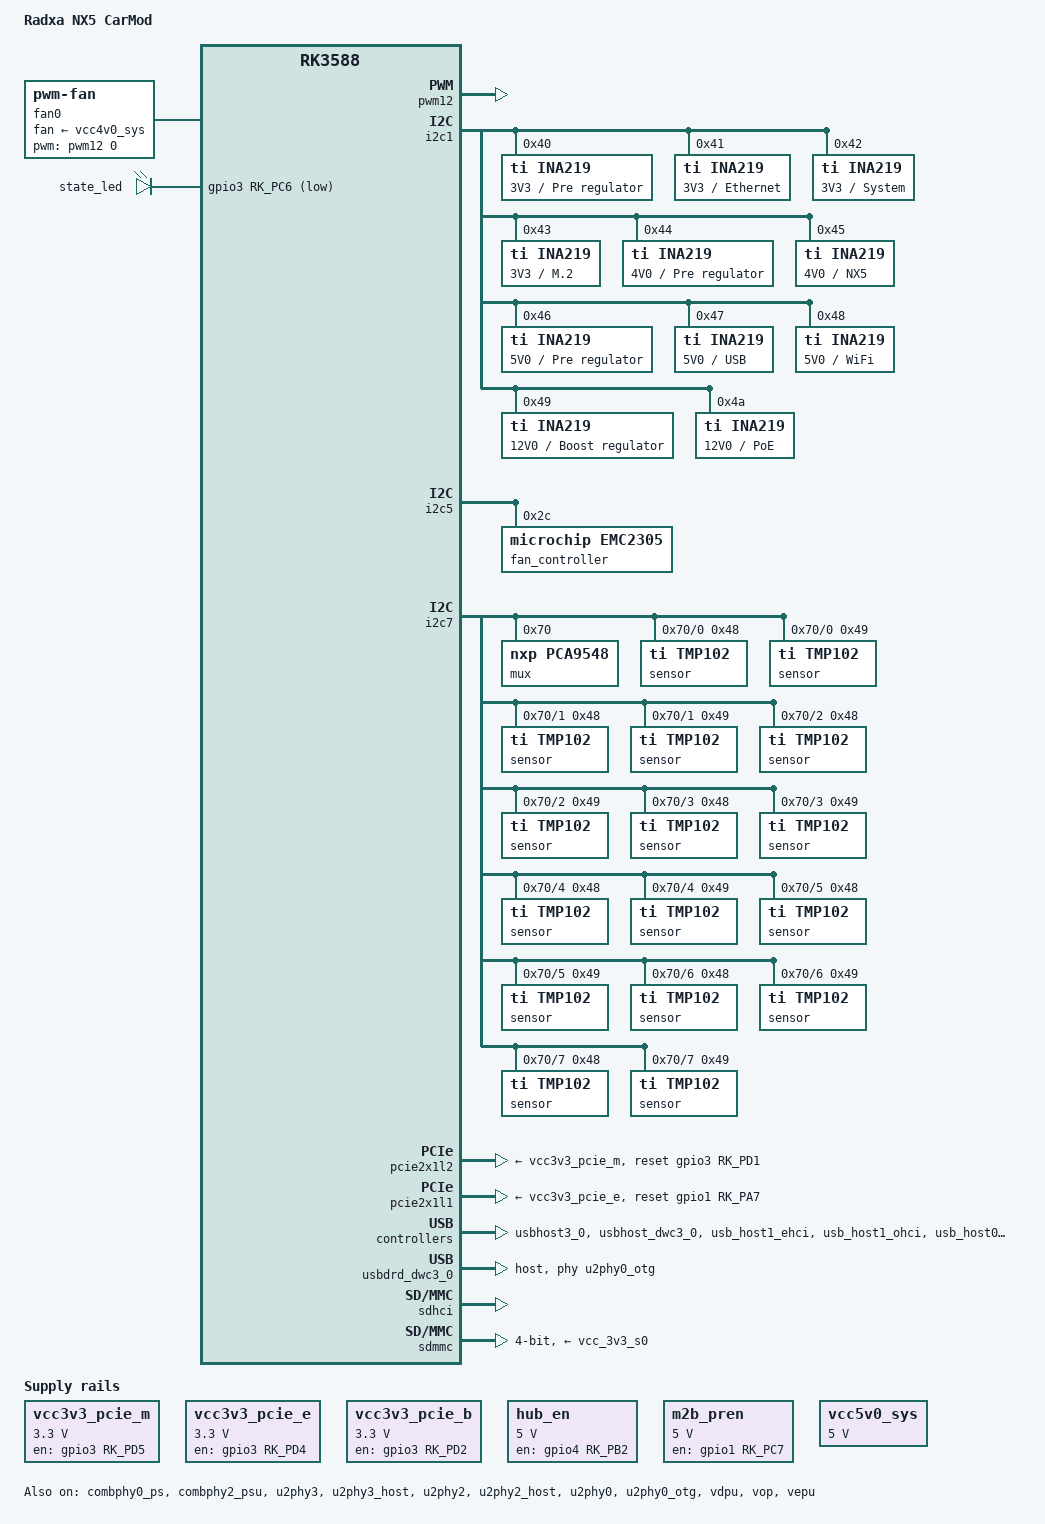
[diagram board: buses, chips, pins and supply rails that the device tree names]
// SPDX-License-Identifier: (GPL-2.0+ OR MIT)
/*
 * Copyright (c) 2024 Rockchip Electronics Co., Ltd.
 * Copyright (c) 2024 Radxa Computer (Shenzhen) Co., Ltd.
 *
 */

/dts-v1/;

#include "rk3588s-radxa-nx5.dtsi"

/ {
	model = "Radxa NX5 CarMod";
	compatible = "radxa,nx5-io", "rockchip,rk3588";

	fan0: pwm-fan {
	 	compatible = "pwm-fan";
	 	#cooling-cells = <2>;
	 	cooling-levels = <0 64 128 192 255>;
	 	pwms = <&pwm12 0 60000 0>;	
	 	fan-supply = <&vcc4v0_sys>;
	};

	vcc3v3_pcie_m: vcc3v3-pcie-m {
		compatible = "regulator-fixed";
		regulator-name = "vcc3v3_pcie_m";
		regulator-min-microvolt = <3300000>;
		regulator-max-microvolt = <3300000>;
		startup-delay-us = <5000>;
		enable-active-high;
		regulator-boot-on;
		regulator-always-on;
		gpio = <&gpio3 RK_PD5 GPIO_ACTIVE_HIGH>;
		pinctrl-names = "default";
		pinctrl-0 = <&pcie_m_en_pctrl>;
	};

	vcc3v3_pcie_e: vcc3v3-pcie-e {
		compatible = "regulator-fixed";
		regulator-name = "vcc3v3_pcie_e";
		regulator-min-microvolt = <3300000>;
		regulator-max-microvolt = <3300000>;
		startup-delay-us = <10000>;
		gpio = <&gpio3 RK_PD4 GPIO_ACTIVE_HIGH>;
		enable-active-high;
		regulator-boot-on;
		regulator-always-on;
		pinctrl-names = "default";
		pinctrl-0 = <&pcie_e_en_pctrl>;
	};
	vcc3v3_pcie_b: vcc3v3-pcie-b {
		compatible = "regulator-fixed";
		regulator-name = "vcc3v3_pcie_b";
		regulator-min-microvolt = <3300000>;
		regulator-max-microvolt = <3300000>;
		startup-delay-us = <10000>;
		gpio = <&gpio3 RK_PD2 GPIO_ACTIVE_HIGH>;
		enable-active-high;
		regulator-boot-on;
		regulator-always-on;
		pinctrl-names = "default";
		pinctrl-0 = <&pcie_b_en_pctrl>;
	};

	hub_en: hub-en {
		compatible = "regulator-fixed";
		regulator-name = "hub_en";
		regulator-min-microvolt = <5000000>;
		regulator-max-microvolt = <5000000>;
		startup-delay-us = <10000>;
		gpio = <&gpio4 RK_PB2 GPIO_ACTIVE_HIGH>;
		enable-active-high;
		pinctrl-names = "default";
		pinctrl-0 = <&hub_en_pctrl>;
	 	regulator-boot-on;
		regulator-always-on;
	};

	m2b_pren: m2b_pren {
		compatible = "regulator-fixed";
		regulator-name = "hub_en";
		regulator-min-microvolt = <5000000>;
		regulator-max-microvolt = <5000000>;
		startup-delay-us = <10000>;
		gpio = <&gpio1 RK_PC7 GPIO_ACTIVE_HIGH>;
		enable-active-high;
		pinctrl-names = "default";
		pinctrl-0 = <&hub_en_pctrl>;
	 	regulator-boot-on;
		regulator-always-on;
	};

	leds {
		compatible = "gpio-leds";
		pinctrl-0 = <&led0_en &led1_en>;
		pinctrl-names = "default";
		state_led {
			gpios = <&gpio3 RK_PC6 GPIO_ACTIVE_LOW>;
			linux,default-trigger = "heartbeat";
		};
	};

	// Fake ... 
	vcc5v0_sys: vcc5v0-sys {
    	compatible = "regulator-fixed";
    	regulator-name = "vcc5v0_sys";
    	regulator-min-microvolt = <5000000>;
    	regulator-max-microvolt = <5000000>;
    	regulator-boot-on;
    	regulator-always-on;
	};

};

&pwm12 {
 	pinctrl-0 = <&pwm12m1_pins>;
 	status = "okay";
};

&soc_thermal {
	sustainable-power = <5000>; /* milliwatts */
	cooling-maps {
		map4 {
			trip = <&target>;
			cooling-device =
				<&fan0 THERMAL_NO_LIMIT THERMAL_NO_LIMIT>;
			contribution = <8192>;
		};
		map5 {
			trip = <&threshold>;
			cooling-device =
				<&fan0 THERMAL_NO_LIMIT THERMAL_NO_LIMIT>;
			contribution = <8192>;
		};
	};
};

&threshold {
	temperature = <60000>;
};

&combphy0_ps {
	status = "okay";
};


&i2c1 {
  status = "okay";
  pinctrl-0 = <&i2c1m4_xfer>;

  vin-3v3@40 {
    compatible = "ti,ina219";
    reg = <0x40>;
    shunt-resistor = <5000>;
    label = "3V3 / Pre regulator";
  };

  3v3-eth@41 {
    compatible = "ti,ina219";
    reg = <0x41>;
    shunt-resistor = <5000>;
    label = "3V3 / Ethernet";
  };

  3v3-sys@42 {
    compatible = "ti,ina219";
    reg = <0x42>;
    shunt-resistor = <5000>;
    label = "3V3 / System";
  };

  3v3-m2@43 {
    compatible = "ti,ina219";
    reg = <0x43>;
    shunt-resistor = <5000>;
    label = "3V3 / M.2";
  };

  vin-4v0@44 {
    compatible = "ti,ina219";
    reg = <0x44>;
    shunt-resistor = <5000>;
    label = "4V0 / Pre regulator";
  };

  4v0-nx5@45 {
    compatible = "ti,ina219";
    reg = <0x45>;
    shunt-resistor = <5000>;
    label = "4V0 / NX5";
  };

  vin-5v0@46 {
    compatible = "ti,ina219";
    reg = <0x46>;
    shunt-resistor = <5000>;
    label = "5V0 / Pre regulator";
  };

  5v0-usb@47 {
    compatible = "ti,ina219";
    reg = <0x47>;
    shunt-resistor = <5000>;
    label = "5V0 / USB";
  };

  5v0-wifi@48 {
    compatible = "ti,ina219";
    reg = <0x48>;
    shunt-resistor = <5000>;
    label = "5V0 / WiFi";
  };

  12v0-reg@49 {
    compatible = "ti,ina219";
    reg = <0x49>;
    shunt-resistor = <5000>;
    label = "12V0 / Boost regulator";
  };

  12v0-poe@4a {
    compatible = "ti,ina219";
    reg = <0x4a>;
    shunt-resistor = <5000>;
    label = "12V0 / PoE";
  };

};

&i2c5 {
  status = "okay";
  pinctrl-0 = <&i2c5m2_xfer>;

  fan_controller: fan-controller@2c {
    compatible = "microchip,emc2305";
    reg = <0x2c>;

    #address-cells = <1>;
    #size-cells = <0>;
    #pwm-cells = <3>;

    fan@0 {
      reg = <0x0>;
      pwms = <&fan_controller 26000 0 1>;
      #cooling-cells = <2>;
    };

    fan@1 {
      reg = <0x1>;
      pwms = <&fan_controller 26000 0 1>;
      #cooling-cells = <2>;
    };

    fan@2 {
      reg = <0x2>;
      pwms = <&fan_controller 26000 0 1>;
      #cooling-cells = <2>;
    };

    fan@3 {
      reg = <0x3>;
      pwms = <&fan_controller 26000 0 1>;
      #cooling-cells = <2>;
    };

    fan@4 {
      reg = <0x4>;
      pwms = <&fan_controller 26000 0 1>;
      #cooling-cells = <2>;
    };
  };
};

&i2c7 {
  status = "okay";
  pinctrl-0 = <&i2c7m0_xfer>;

  mux@70 {
    compatible = "nxp,pca9548";
    #address-cells = <1>;
    #size-cells = <0>;
    reg = <0x70>;

    i2c@0 {
      #address-cells = <1>;
      #size-cells = <0>;
      reg = <0>;

      sensor@48 {
        compatible = "ti,tmp102";
        reg = <0x48>;
        
        #thermal-sensor-cells = <1>;
      };

      sensor@49 {
        compatible = "ti,tmp102";
        reg = <0x49>;
        
        #thermal-sensor-cells = <1>;
      };
    };

    i2c@1 {
      #address-cells = <1>;
      #size-cells = <0>;
      reg = <1>;

      sensor@48 {
        compatible = "ti,tmp102";
        reg = <0x48>;
        
        #thermal-sensor-cells = <1>;
      };

      sensor@49 {
        compatible = "ti,tmp102";
        reg = <0x49>;
        
        #thermal-sensor-cells = <1>;
      };
    };

    i2c@2 {
      #address-cells = <1>;
      #size-cells = <0>;
      reg = <2>;

      sensor@48 {
        compatible = "ti,tmp102";
        reg = <0x48>;
        
        #thermal-sensor-cells = <1>;
      };

      sensor@49 {
        compatible = "ti,tmp102";
        reg = <0x49>;
        
        #thermal-sensor-cells = <1>;
      };
    };

    i2c@3 {
      #address-cells = <1>;
      #size-cells = <0>;
      reg = <3>;

      sensor@48 {
        compatible = "ti,tmp102";
        reg = <0x48>;
        
        #thermal-sensor-cells = <1>;
      };

      sensor@49 {
        compatible = "ti,tmp102";
        reg = <0x49>;
        
        #thermal-sensor-cells = <1>;
      };
    };

    i2c@4 {
      #address-cells = <1>;
      #size-cells = <0>;
      reg = <4>;

      sensor@48 {
        compatible = "ti,tmp102";
        reg = <0x48>;
        
        #thermal-sensor-cells = <1>;
      };

      sensor@49 {
        compatible = "ti,tmp102";
        reg = <0x49>;
        
        #thermal-sensor-cells = <1>;
      };
    };

    i2c@5 {
      #address-cells = <1>;
      #size-cells = <0>;
      reg = <5>;

      sensor@48 {
        compatible = "ti,tmp102";
        reg = <0x48>;
        
        #thermal-sensor-cells = <1>;
      };

      sensor@49 {
        compatible = "ti,tmp102";
        reg = <0x49>;
        
        #thermal-sensor-cells = <1>;
      };
    };

    i2c@6 {
      #address-cells = <1>;
      #size-cells = <0>;
      reg = <6>;

      sensor@48 {
        compatible = "ti,tmp102";
        reg = <0x48>;
        
        #thermal-sensor-cells = <1>;
      };

      sensor@49 {
        compatible = "ti,tmp102";
        reg = <0x49>;
        
        #thermal-sensor-cells = <1>;
      };
    };

    i2c@7 {
      #address-cells = <1>;
      #size-cells = <0>;
      reg = <7>;

      sensor@48 {
        compatible = "ti,tmp102";
        reg = <0x48>;
        
        #thermal-sensor-cells = <1>;
      };

      sensor@49 {
        compatible = "ti,tmp102";
        reg = <0x49>;
        
        #thermal-sensor-cells = <1>;
      };
    };
  };
};

// M.2 M-Key
&pcie2x1l2 {
	vpcie3v3-supply = <&vcc3v3_pcie_m>;
	reset-gpios = <&gpio3 RK_PD1 GPIO_ACTIVE_HIGH>;
	status = "okay";
};

// M.2 E-Key 

&pcie2x1l1 { // check lane
	vpcie3v3-supply = <&vcc3v3_pcie_e>;
	reset-gpios = <&gpio1 RK_PA7 GPIO_ACTIVE_HIGH>;
	status = "okay";
};

&combphy2_psu {
	status = "okay";
};

&usbhost3_0 {
	status = "okay";
};

&usbhost_dwc3_0 {
	status = "okay";
};

&usb_host1_ehci {
	status = "okay";
};

&usb_host1_ohci {
	status = "okay";
};

&u2phy3 {
	status = "okay";
};

&u2phy3_host {
	status = "okay";
};

&usb_host0_ehci {
	status = "okay";
};

&usb_host0_ohci {
	status = "okay";
};

&u2phy2 {
	status = "okay";
};

&u2phy2_host {
	status = "okay";
};

&u2phy0 {
	status = "okay";
};

&u2phy0_otg {
	status = "okay";
};

&usbdrd3_0 {
	status = "okay";
};

&usbdrd_dwc3_0 {
	status = "okay";
	phys = <&u2phy0_otg>;
	phy-names = "usb2-phy";
	maximum-speed = "high-speed";
	extcon = <&u2phy0>;
	dr_mode = "host";
	/* Fix usb suspend failure */
	snps,dis_u3_susphy_quirk;
};

&sdhci {
	status = "okay";
};

&vdpu {
	status = "okay";
};

&vdpu_mmu {
	status = "okay";
};

&vop {
	status = "okay";
};

&vop_mmu {
	status = "okay";
};

&vepu {
	status = "okay";
};

&vp0 {
	rockchip,plane-mask = <(1 << ROCKCHIP_VOP2_CLUSTER0 | 1 << ROCKCHIP_VOP2_ESMART0)>;
	rockchip,primary-plane = <ROCKCHIP_VOP2_CLUSTER0>;
	cursor-win-id = <ROCKCHIP_VOP2_ESMART0>;
};

&vp1 {
	rockchip,plane-mask = <(1 << ROCKCHIP_VOP2_CLUSTER1 | 1 << ROCKCHIP_VOP2_ESMART1)>;
	rockchip,primary-plane = <ROCKCHIP_VOP2_CLUSTER1>;
	cursor-win-id = <ROCKCHIP_VOP2_ESMART1>;
};

&vp2 {
	rockchip,plane-mask = <(1 << ROCKCHIP_VOP2_CLUSTER2 | 1 << ROCKCHIP_VOP2_ESMART2)>;
	rockchip,primary-plane = <ROCKCHIP_VOP2_CLUSTER2>;
	cursor-win-id = <ROCKCHIP_VOP2_ESMART2>;
};

&vp3 {
	rockchip,plane-mask = <(1 << ROCKCHIP_VOP2_CLUSTER3 | 1 << ROCKCHIP_VOP2_ESMART3)>;
	rockchip,primary-plane = <ROCKCHIP_VOP2_CLUSTER3>;
	cursor-win-id = <ROCKCHIP_VOP2_ESMART3>;
};

&sdmmc {
	no-sdio;
	no-mmc;
	bus-width = <4>;
	cap-mmc-highspeed;
	cap-sd-highspeed;
	disable-wp;
	sd-uhs-sdr104;
	vmmc-supply = <&vcc_3v3_s0>;
	vqmmc-supply = <&vccio_sd_s0>;
	pinctrl-names = "default";
	pinctrl-0 = <&sdmmc_bus4 &sdmmc_clk &sdmmc_cmd &sdmmc_det>;
	status = "okay";
};

/* Fix the issue of board howling */
&vdd_cpu_big0_s0 {
	regulator-initial-mode = <1>;
};

&vdd_cpu_big1_s0 {
	regulator-initial-mode = <1>;
};

&vdd_npu_s0 {
	regulator-initial-mode = <1>;
};

&vdd_gpu_s0 {
	regulator-initial-mode = <1>;
};

&vdd_cpu_lit_s0 {
	regulator-initial-mode = <1>;
};

&vdd_log_s0 {
	regulator-initial-mode = <1>;
};

&vdd_vdenc_s0 {
	regulator-initial-mode = <1>;
};

&vdd_ddr_s0 {
	regulator-initial-mode = <1>;
};

&vdd2_ddr_s3 {
	regulator-initial-mode = <1>;
};

&vcc_2v0_pldo_s3 {
	regulator-initial-mode = <1>;
};

&vcc_3v3_s3 {
	regulator-initial-mode = <1>;
};

&vddq_ddr_s0 {
	regulator-initial-mode = <1>;
};

&vcc_1v8_s3 {
	regulator-initial-mode = <1>;
};

&pinctrl {

	pcie_m {
		pcie_m_en_pctrl: pcie-m-en {
			rockchip,pins = <3 RK_PD5 RK_FUNC_GPIO &pcfg_pull_none>;
		};
	};

	pcie_e {
		pcie_e_en_pctrl: pcie-e-en {
			rockchip,pins = <3 RK_PD4 RK_FUNC_GPIO &pcfg_pull_none>;
		};
	};
	pcie_b {
		pcie_b_en_pctrl: pcie-b-en {
			rockchip,pins = <3 RK_PD2 RK_FUNC_GPIO &pcfg_pull_none>;
		};
	};

	wifi {
		wifi_en_pctrl: wifi-en {
			rockchip,pins = <3 RK_PC0 RK_FUNC_GPIO &pcfg_pull_none>;
		};

		wifi_rst_pctrl: wifi-rst {
			rockchip,pins = <3 RK_PB7 RK_FUNC_GPIO &pcfg_pull_none>;
		};
	};

	hub {
		hub_en_pctrl: hub-en {
			rockchip,pins = <4 RK_PB2 RK_FUNC_GPIO &pcfg_pull_none>;
		};
	};

	led {
		led1_en: led1-en {
			rockchip,pins = <3 RK_PC6 RK_FUNC_GPIO &pcfg_pull_none>;
		};
	};
};

&gpio0 {
	gpio-line-names =
		/* GPIO0_A0-A3 */
		"", "", "", "",
		/* GPIO0_A4-A7 */
		"", "", "", "",

		/* GPIO0_B0-B3 */
		"", "", "NX5.32K", "",
		/* GPIO0_B4-B7 */
		"", "DebugSerial.TXO", "DebugSerial.RXI", "",

		/* GPIO0_C0-C3 */
		"", "", "", "",
		/* GPIO0_C4-C7 */
		"", "BMC.I2C.SDA", "BMC.I2C.SCL", "M2.E.nDIS2",

		/* GPIO0_D0-D3 */
		"M2.E.nDIS1", "", "", "",
		/* GPIO0_D4-D7 */
		"", "", "", "";
};

&gpio1 {
	gpio-line-names =
		/* GPIO1_A0-A3 */
		"M2.E.PCIE.nWAKE", "M2.E.PCIE.nCLKREQ", "", "",
		/* GPIO1_A4-A7 */
		"", "", "", "M2.E.PCIE.nRST",

		/* GPIO1_B0-B3 */
		"", "", "", "",
		/* GPIO1_B4-B7 */
		"", "", "", "",

		/* GPIO1_C0-C3 */
		"", "", "", "M2.B.IO11",
		/* GPIO1_C4-C7 */
		"", "M2.B.DEVSLP", "", "M2.B.PWREN",

		/* GPIO1_D0-D3 */
		"I2C7.M0.SCL", "I2C7.M0.SDA", "I2C1.M4.SCL", "I2C1.M4.SDA",
		/* GPIO1_D4-D7 */
		"M2.B.DEVSLP", "", "", "";
};

&gpio2 {
	gpio-line-names =
		/* GPIO2_A0-A3 */
		"", "", "", "",
		/* GPIO2_A4-A7 */
		"", "", "", "",

		/* GPIO2_B0-B3 */
		"", "", "", "",
		/* GPIO2_B4-B7 */
		"", "", "", "",

		/* GPIO2_C0-C3 */
		"", "", "", "",
		/* GPIO2_C4-C7 */
		"", "", "", "",

		/* GPIO2_D0-D3 */
		"", "", "", "",
		/* GPIO2_D4-D7 */
		"", "", "", "";
};

&gpio3 {
	gpio-line-names =
		/* GPIO3_A0-A3 */
		"", "", "", "",
		/* GPIO3_A4-A7 */
		"", "", "", "",

		/* GPIO3_B0-B3 */
		"", "", "", "",
		/* GPIO3_B4-B7 */
		"", "", "", "WiFi.RST",

		/* GPIO3_C0-C3 */
		"WiFi.EN", "", "", "",
		/* GPIO3_C4-C7 */
		"", "", "", "",

		/* GPIO3_D0-D3 */
		"M2.M.nWAKE", "M2.M.nRST", "M2.B.PWR.EN", "M2.B.nDIS1",
		/* GPIO3_D4-D7 */
		"M2.E.PWR.EN", "M2.M.PWR.EN", "", "";
};

&gpio4 {
	gpio-line-names =
		/* GPIO4_A0-A3 */
		"", "", "", "",
		/* GPIO4_A4-A7 */
		"", "ETH.PoE.EN", "I2C5.M2.SCL", "I2C5.M2.SDA",

		/* GPIO4_B0-B3 */
		"", "", "HUB.EN", "",
		/* GPIO4_B4-B7 */
		"", "M2.B.nRST", "", "",

		/* GPIO4_C0-C3 */
		"", "", "", "",
		/* GPIO4_C4-C7 */
		"", "", "", "",

		/* GPIO4_D0-D3 */
		"", "", "", "",
		/* GPIO4_D4-D7 */
		"", "", "", "";
};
